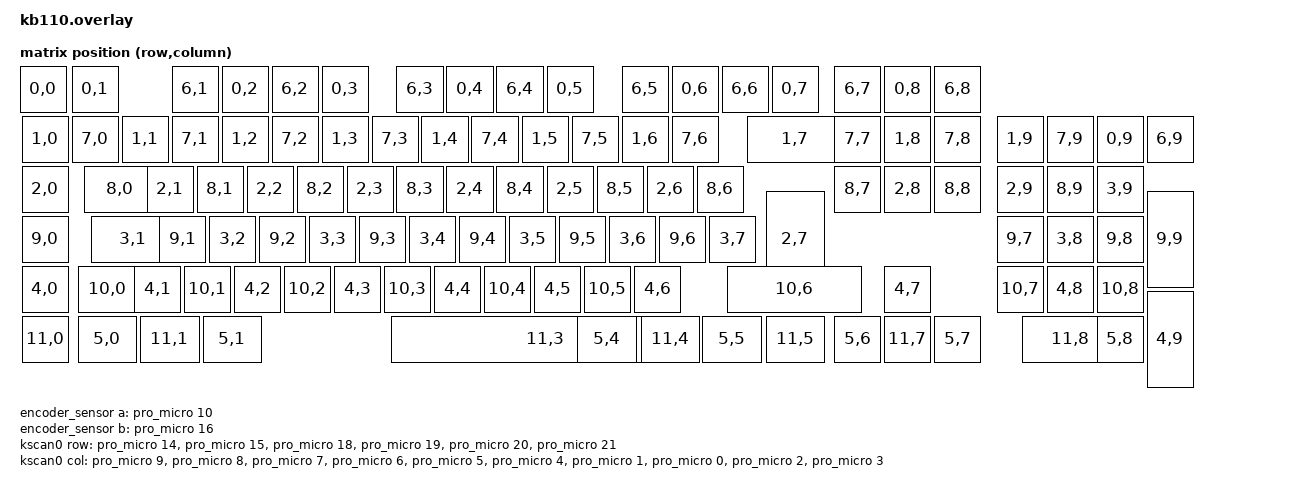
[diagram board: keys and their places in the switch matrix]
/*
 * kb110 - wireless full-size keyboard (110 keys + EC11 encoder)
 *
 * Reverse-engineered from the KiCad project:
 *   - Duplex (bi-directional) diode matrix: 6 row nets x 10 col nets, two
 *     anti-parallel-diode switches per matrix cell.
 *   - Scanned by the custom driver zmk,kscan-gpio-duplex with a 16-pass cycle:
 *     each column driven while the rows are read (col->row switches, logical
 *     rows 0-5), then each row driven while the columns are read (row->col
 *     switches, logical rows 6-11). Three-switch sneak paths are suppressed
 *     by the driver's cross-pass ghost filter.
 *   - The EC11 push button is wired between Row1 and Col1 without a diode; it
 *     is detected in the col-drive pass at RC(0,0) (the row-drive event is
 *     suppressed via the skip-cells property).
 *   - Encoder rotation: A = Pot-A (Pro Micro pad 24 / D10), B = Pot-B (pad 23 / D16).
 */

#include <dt-bindings/zmk/matrix_transform.h>
#include <physical_layouts.dtsi> /* key_physical_attrs */

/ {
    chosen {
        zmk,kscan = &kscan0;
        zmk,physical-layout = &kb110_layout;
    };

    encoder_sensor: encoder_sensor {
        compatible = "alps,ec11";
        a-gpios = <&pro_micro 10 (GPIO_ACTIVE_LOW | GPIO_PULL_UP)>;
        b-gpios = <&pro_micro 16 (GPIO_ACTIVE_LOW | GPIO_PULL_UP)>;
        steps = <80>;
        status = "okay";
    };

    kscan0: kscan {
        compatible = "zmk,kscan-gpio-duplex";
        wakeup-source;

        debounce-press-ms = <5>;
        debounce-release-ms = <5>;
        debounce-scan-period-ms = <1>;
        poll-period-ms = <25>;

        row-gpios
            = <&pro_micro 14 (GPIO_ACTIVE_HIGH | GPIO_PULL_DOWN)>   /* Row1 */
            , <&pro_micro 15 (GPIO_ACTIVE_HIGH | GPIO_PULL_DOWN)>   /* Row2 */
            , <&pro_micro 18 (GPIO_ACTIVE_HIGH | GPIO_PULL_DOWN)>   /* Row3 */
            , <&pro_micro 19 (GPIO_ACTIVE_HIGH | GPIO_PULL_DOWN)>   /* Row4 */
            , <&pro_micro 20 (GPIO_ACTIVE_HIGH | GPIO_PULL_DOWN)>   /* Row5 */
            , <&pro_micro 21 (GPIO_ACTIVE_HIGH | GPIO_PULL_DOWN)>   /* Row6 */
            ;
        col-gpios
            = <&pro_micro 9 (GPIO_ACTIVE_HIGH | GPIO_PULL_DOWN)>   /* Col1 */
            , <&pro_micro 8 (GPIO_ACTIVE_HIGH | GPIO_PULL_DOWN)>   /* Col2 */
            , <&pro_micro 7 (GPIO_ACTIVE_HIGH | GPIO_PULL_DOWN)>   /* Col3 */
            , <&pro_micro 6 (GPIO_ACTIVE_HIGH | GPIO_PULL_DOWN)>   /* Col4 */
            , <&pro_micro 5 (GPIO_ACTIVE_HIGH | GPIO_PULL_DOWN)>   /* Col5 */
            , <&pro_micro 4 (GPIO_ACTIVE_HIGH | GPIO_PULL_DOWN)>   /* Col6 */
            , <&pro_micro 1 (GPIO_ACTIVE_HIGH | GPIO_PULL_DOWN)>   /* Col7 */
            , <&pro_micro 0 (GPIO_ACTIVE_HIGH | GPIO_PULL_DOWN)>   /* Col8 */
            , <&pro_micro 2 (GPIO_ACTIVE_HIGH | GPIO_PULL_DOWN)>   /* Col9 */
            , <&pro_micro 3 (GPIO_ACTIVE_HIGH | GPIO_PULL_DOWN)>   /* Col10 */
            ;

        /* Logical (row,col) pairs that carry no switch: the row-drive half of
         * the encoder cell. Kept out so the driver does not emit events. */
        skip-cells = <6 0>;
    };

    kb110_layout: kb110_layout {
        compatible = "zmk,physical-layout";
        display-name = "kb110";

        transform = <&kb110_transform>;
        kscan = <&kscan0>;

        keys  //                         w    h      x      y  rot  rx  ry   (centi-units, 100 = 1u)
            = <&key_physical_attrs 100 100 46 0 0 0 0>  // pos 0: ENC
            , <&key_physical_attrs 100 100 150 0 0 0 0>  // pos 1: MX1
            , <&key_physical_attrs 100 100 350 0 0 0 0>  // pos 2: MX2
            , <&key_physical_attrs 100 100 450 0 0 0 0>  // pos 3: MX3
            , <&key_physical_attrs 100 100 550 0 0 0 0>  // pos 4: MX4
            , <&key_physical_attrs 100 100 650 0 0 0 0>  // pos 5: MX5
            , <&key_physical_attrs 100 100 800 0 0 0 0>  // pos 6: MX6
            , <&key_physical_attrs 100 100 900 0 0 0 0>  // pos 7: MX7
            , <&key_physical_attrs 100 100 1000 0 0 0 0>  // pos 8: MX8
            , <&key_physical_attrs 100 100 1100 0 0 0 0>  // pos 9: MX9
            , <&key_physical_attrs 100 100 1250 0 0 0 0>  // pos 10: MX10
            , <&key_physical_attrs 100 100 1350 0 0 0 0>  // pos 11: MX11
            , <&key_physical_attrs 100 100 1450 0 0 0 0>  // pos 12: MX12
            , <&key_physical_attrs 100 100 1550 0 0 0 0>  // pos 13: MX13
            , <&key_physical_attrs 100 100 1675 0 0 0 0>  // pos 14: MX14
            , <&key_physical_attrs 100 100 1775 0 0 0 0>  // pos 15: MX15
            , <&key_physical_attrs 100 100 1875 0 0 0 0>  // pos 16: MX16
            , <&key_physical_attrs 100 100 50 100 0 0 0>  // pos 17: MX17
            , <&key_physical_attrs 100 100 150 100 0 0 0>  // pos 18: MX18
            , <&key_physical_attrs 100 100 250 100 0 0 0>  // pos 19: MX19
            , <&key_physical_attrs 100 100 350 100 0 0 0>  // pos 20: MX20
            , <&key_physical_attrs 100 100 450 100 0 0 0>  // pos 21: MX21
            , <&key_physical_attrs 100 100 550 100 0 0 0>  // pos 22: MX22
            , <&key_physical_attrs 100 100 650 100 0 0 0>  // pos 23: MX23
            , <&key_physical_attrs 100 100 750 100 0 0 0>  // pos 24: MX24
            , <&key_physical_attrs 100 100 850 100 0 0 0>  // pos 25: MX25
            , <&key_physical_attrs 100 100 950 100 0 0 0>  // pos 26: MX26
            , <&key_physical_attrs 100 100 1050 100 0 0 0>  // pos 27: MX27
            , <&key_physical_attrs 100 100 1150 100 0 0 0>  // pos 28: MX28
            , <&key_physical_attrs 100 100 1250 100 0 0 0>  // pos 29: MX29
            , <&key_physical_attrs 100 100 1350 100 0 0 0>  // pos 30: MX30
            , <&key_physical_attrs 200 100 1500 100 0 0 0>  // pos 31: MX31
            , <&key_physical_attrs 100 100 1675 100 0 0 0>  // pos 32: MX32
            , <&key_physical_attrs 100 100 1775 100 0 0 0>  // pos 33: MX33
            , <&key_physical_attrs 100 100 1875 100 0 0 0>  // pos 34: MX34
            , <&key_physical_attrs 100 100 2000 100 0 0 0>  // pos 35: MX35
            , <&key_physical_attrs 100 100 2100 100 0 0 0>  // pos 36: MX36
            , <&key_physical_attrs 100 100 2200 100 0 0 0>  // pos 37: MX37
            , <&key_physical_attrs 100 100 2300 100 0 0 0>  // pos 38: MX38
            , <&key_physical_attrs 100 100 50 200 0 0 0>  // pos 39: MX39
            , <&key_physical_attrs 150 100 175 200 0 0 0>  // pos 40: MX40
            , <&key_physical_attrs 100 100 300 200 0 0 0>  // pos 41: MX41
            , <&key_physical_attrs 100 100 400 200 0 0 0>  // pos 42: MX42
            , <&key_physical_attrs 100 100 500 200 0 0 0>  // pos 43: MX43
            , <&key_physical_attrs 100 100 600 200 0 0 0>  // pos 44: MX44
            , <&key_physical_attrs 100 100 700 200 0 0 0>  // pos 45: MX45
            , <&key_physical_attrs 100 100 800 200 0 0 0>  // pos 46: MX46
            , <&key_physical_attrs 100 100 900 200 0 0 0>  // pos 47: MX47
            , <&key_physical_attrs 100 100 1000 200 0 0 0>  // pos 48: MX48
            , <&key_physical_attrs 100 100 1100 200 0 0 0>  // pos 49: MX49
            , <&key_physical_attrs 100 100 1200 200 0 0 0>  // pos 50: MX50
            , <&key_physical_attrs 100 100 1300 200 0 0 0>  // pos 51: MX51
            , <&key_physical_attrs 100 100 1400 200 0 0 0>  // pos 52: MX52
            , <&key_physical_attrs 125 200 1538 250 0 0 0>  // pos 53: MX53
            , <&key_physical_attrs 100 100 1675 200 0 0 0>  // pos 54: MX54
            , <&key_physical_attrs 100 100 1775 200 0 0 0>  // pos 55: MX55
            , <&key_physical_attrs 100 100 1875 200 0 0 0>  // pos 56: MX56
            , <&key_physical_attrs 100 100 2000 200 0 0 0>  // pos 57: MX57
            , <&key_physical_attrs 100 100 2100 200 0 0 0>  // pos 58: MX58
            , <&key_physical_attrs 100 100 2200 200 0 0 0>  // pos 59: MX59
            , <&key_physical_attrs 100 200 2300 250 0 0 0>  // pos 60: MX60
            , <&key_physical_attrs 100 100 50 300 0 0 0>  // pos 61: MX61
            , <&key_physical_attrs 175 100 188 300 0 0 0>  // pos 62: MX62
            , <&key_physical_attrs 100 100 325 300 0 0 0>  // pos 63: MX63
            , <&key_physical_attrs 100 100 425 300 0 0 0>  // pos 64: MX64
            , <&key_physical_attrs 100 100 525 300 0 0 0>  // pos 65: MX65
            , <&key_physical_attrs 100 100 625 300 0 0 0>  // pos 66: MX66
            , <&key_physical_attrs 100 100 725 300 0 0 0>  // pos 67: MX67
            , <&key_physical_attrs 100 100 825 300 0 0 0>  // pos 68: MX68
            , <&key_physical_attrs 100 100 925 300 0 0 0>  // pos 69: MX69
            , <&key_physical_attrs 100 100 1025 300 0 0 0>  // pos 70: MX70
            , <&key_physical_attrs 100 100 1125 300 0 0 0>  // pos 71: MX71
            , <&key_physical_attrs 100 100 1225 300 0 0 0>  // pos 72: MX72
            , <&key_physical_attrs 100 100 1325 300 0 0 0>  // pos 73: MX73
            , <&key_physical_attrs 100 100 1425 300 0 0 0>  // pos 74: MX74
            , <&key_physical_attrs 100 100 2000 300 0 0 0>  // pos 75: MX75
            , <&key_physical_attrs 100 100 2100 300 0 0 0>  // pos 76: MX76
            , <&key_physical_attrs 100 100 2200 300 0 0 0>  // pos 77: MX77
            , <&key_physical_attrs 100 100 50 400 0 0 0>  // pos 78: MX78
            , <&key_physical_attrs 125 100 162 400 0 0 0>  // pos 79: MX79
            , <&key_physical_attrs 100 100 275 400 0 0 0>  // pos 80: MX80
            , <&key_physical_attrs 100 100 375 400 0 0 0>  // pos 81: MX81
            , <&key_physical_attrs 100 100 475 400 0 0 0>  // pos 82: MX82
            , <&key_physical_attrs 100 100 575 400 0 0 0>  // pos 83: MX83
            , <&key_physical_attrs 100 100 675 400 0 0 0>  // pos 84: MX84
            , <&key_physical_attrs 100 100 775 400 0 0 0>  // pos 85: MX85
            , <&key_physical_attrs 100 100 875 400 0 0 0>  // pos 86: MX86
            , <&key_physical_attrs 100 100 975 400 0 0 0>  // pos 87: MX87
            , <&key_physical_attrs 100 100 1075 400 0 0 0>  // pos 88: MX88
            , <&key_physical_attrs 100 100 1175 400 0 0 0>  // pos 89: MX89
            , <&key_physical_attrs 100 100 1275 400 0 0 0>  // pos 90: MX90
            , <&key_physical_attrs 275 100 1462 400 0 0 0>  // pos 91: MX91
            , <&key_physical_attrs 100 100 1775 400 0 0 0>  // pos 92: MX92
            , <&key_physical_attrs 100 100 2000 400 0 0 0>  // pos 93: MX93
            , <&key_physical_attrs 100 100 2100 400 0 0 0>  // pos 94: MX94
            , <&key_physical_attrs 100 100 2200 400 0 0 0>  // pos 95: MX95
            , <&key_physical_attrs 100 200 2300 450 0 0 0>  // pos 96: MX96
            , <&key_physical_attrs 100 100 50 500 0 0 0>  // pos 97: MX97
            , <&key_physical_attrs 125 100 162 500 0 0 0>  // pos 98: MX98
            , <&key_physical_attrs 125 100 287 500 0 0 0>  // pos 99: MX99
            , <&key_physical_attrs 125 100 412 500 0 0 0>  // pos 100: MX100
            , <&key_physical_attrs 625 100 788 500 0 0 0>  // pos 101: MX101
            , <&key_physical_attrs 125 100 1162 500 0 0 0>  // pos 102: MX102
            , <&key_physical_attrs 125 100 1288 500 0 0 0>  // pos 103: MX103
            , <&key_physical_attrs 125 100 1412 500 0 0 0>  // pos 104: MX104
            , <&key_physical_attrs 125 100 1538 500 0 0 0>  // pos 105: MX105
            , <&key_physical_attrs 100 100 1675 500 0 0 0>  // pos 106: MX106
            , <&key_physical_attrs 100 100 1775 500 0 0 0>  // pos 107: MX107
            , <&key_physical_attrs 100 100 1875 500 0 0 0>  // pos 108: MX108
            , <&key_physical_attrs 200 100 2050 500 0 0 0>  // pos 109: MX109
            , <&key_physical_attrs 100 100 2200 500 0 0 0>  // pos 110: MX110
            ;
    };

    kb110_transform: keymap_transform {
        compatible = "zmk,matrix-transform";
        columns = <10>;
        rows = <12>;
        map = <
        RC(0,0) RC(0,1) RC(6,1) RC(0,2) RC(6,2) RC(0,3) RC(6,3) RC(0,4)   // positions 0-7
        RC(6,4) RC(0,5) RC(6,5) RC(0,6) RC(6,6) RC(0,7) RC(6,7) RC(0,8)   // positions 8-15
        RC(6,8) RC(1,0) RC(7,0) RC(1,1) RC(7,1) RC(1,2) RC(7,2) RC(1,3)   // positions 16-23
        RC(7,3) RC(1,4) RC(7,4) RC(1,5) RC(7,5) RC(1,6) RC(7,6) RC(1,7)   // positions 24-31
        RC(7,7) RC(1,8) RC(7,8) RC(1,9) RC(7,9) RC(0,9) RC(6,9) RC(2,0)   // positions 32-39
        RC(8,0) RC(2,1) RC(8,1) RC(2,2) RC(8,2) RC(2,3) RC(8,3) RC(2,4)   // positions 40-47
        RC(8,4) RC(2,5) RC(8,5) RC(2,6) RC(8,6) RC(2,7) RC(8,7) RC(2,8)   // positions 48-55
        RC(8,8) RC(2,9) RC(8,9) RC(3,9) RC(9,9) RC(9,0) RC(3,1) RC(9,1)   // positions 56-63
        RC(3,2) RC(9,2) RC(3,3) RC(9,3) RC(3,4) RC(9,4) RC(3,5) RC(9,5)   // positions 64-71
        RC(3,6) RC(9,6) RC(3,7) RC(9,7) RC(3,8) RC(9,8) RC(4,0) RC(10,0)   // positions 72-79
        RC(4,1) RC(10,1) RC(4,2) RC(10,2) RC(4,3) RC(10,3) RC(4,4) RC(10,4)   // positions 80-87
        RC(4,5) RC(10,5) RC(4,6) RC(10,6) RC(4,7) RC(10,7) RC(4,8) RC(10,8)   // positions 88-95
        RC(4,9) RC(11,0) RC(5,0) RC(11,1) RC(5,1) RC(11,3) RC(5,4) RC(11,4)   // positions 96-103
        RC(5,5) RC(11,5) RC(5,6) RC(11,7) RC(5,7) RC(11,8) RC(5,8)   // positions 104-110
        >;
    };
};
